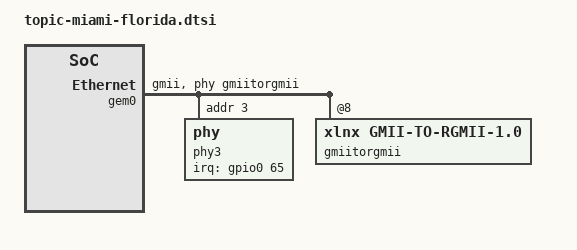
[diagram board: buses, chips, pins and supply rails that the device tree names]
/include/ "topic-miami-florida-mio.dtsi"

/* Common components for ALL florida boards */

/* Ethernet PHY via EMIO. Logic contains a GMII to RGMII conversion, so
 * the emac should see a GMII interface */
&gem0 {
	status = "okay";
	phy-handle = <&gmiitorgmii>;
	phy-mode = "gmii";

	phy3: phy@3 {
		/* PHY on the board */
		device_type = "ethernet-phy";
		reg = <0x3>;
		interrupt-parent = <&gpio0>;
		interrupts = <65 0x8>; /* GPIO 65 (EMIO 11), IRQ_TYPE_LEVEL_LOW */
		rxc-skew-ps = <1080>; /* Skew RX clock pad by 180 ps */
		txc-skew-ps = <840>;  /* Skew TX clock pad by -60 ps */
	};

	gmiitorgmii: gmiitorgmii@8 {
		compatible = "xlnx,gmii-to-rgmii-1.0";
		reg = <0x8>;
		phy-handle = <&phy3>;
	};
};
